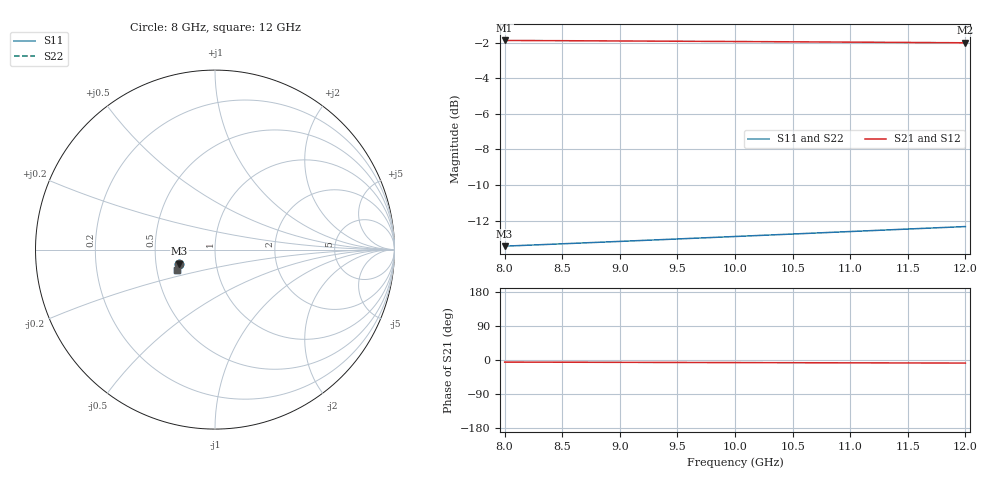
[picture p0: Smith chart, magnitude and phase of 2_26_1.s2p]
! Created Wed Oct 21 16:22:19 2020
# ghz S db R 50
! 2 Port Network Data from SP1.SP block
! freq  dbS11  angS11  dbS21  angS21  dbS12  angS12  dbS22  angS22
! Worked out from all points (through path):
!   9 points, 8 GHz to 12 GHz, reference 50 ohm
!   highest |S21| = -1.88 dB at 8 GHz (marker M1); lowest = -2.0 dB at 12 GHz (marker M2)
!   lowest |S11| = -13.4 dB at 8 GHz (marker M3), VSWR 1.54, Z = 33.1 - j5.39 ohm
!   |S11| at or under -10 dB: start of sweep to end of sweep
!   |S22| runs from -13.4 to -12.3 dB; largest |S21 - S12| = 0
8  -13.43 -158.6  -1.88 -5.5  -1.88 -5.5  -13.43 -158.6
8.5  -13.30 -157.7  -1.89 -5.9  -1.89 -5.9  -13.30 -157.7
9  -13.17 -156.8  -1.91 -6.2  -1.91 -6.2  -13.17 -156.8
9.5  -13.03 -156.0  -1.92 -6.5  -1.92 -6.5  -13.03 -156.0
10  -12.89 -155.2  -1.94 -6.8  -1.94 -6.8  -12.89 -155.2
10.5  -12.75 -154.4  -1.96 -7.2  -1.96 -7.2  -12.75 -154.4
11  -12.61 -153.8  -1.97 -7.5  -1.97 -7.5  -12.61 -153.8
11.5  -12.47 -153.1  -1.99 -7.8  -1.99 -7.8  -12.47 -153.1
12  -12.33 -152.5  -2.01 -8.1  -2.01 -8.1  -12.33 -152.5
